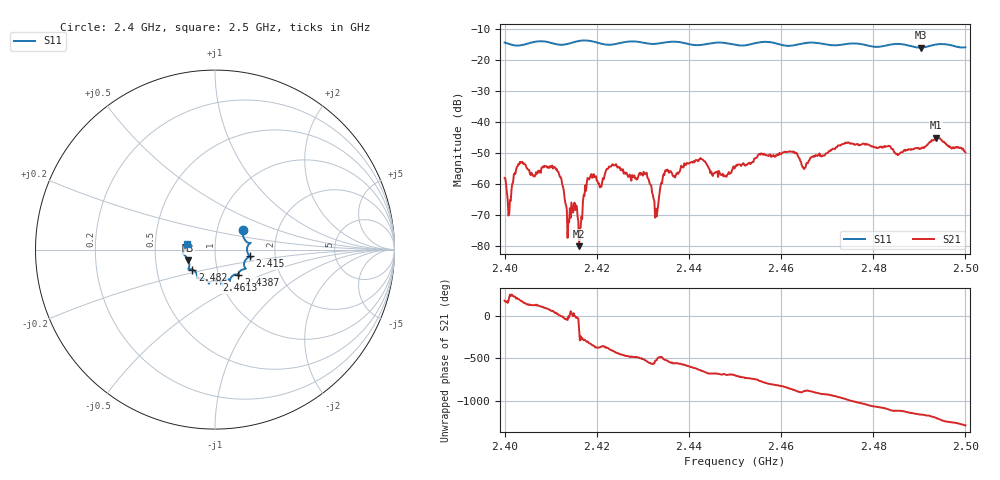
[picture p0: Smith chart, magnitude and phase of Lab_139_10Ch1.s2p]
# Hz S RI R 50
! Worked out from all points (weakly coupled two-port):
!   601 points, 2.4 GHz to 2.5 GHz, reference 50 ohm
!   highest |S21| = -45.08 dB at 2.4937 GHz (marker M1); lowest = -80.2 dB at 2.4162 GHz (marker M2)
!   lowest |S11| = -15.9 dB at 2.4903 GHz (marker M3), VSWR 1.38, Z = 36.8 - j4.43 ohm
!   |S11| at or under -10 dB: start of sweep to end of sweep
!   S12 and S22 are empty: the file has one direction only
!   S11 on the Smith chart (normalised r, x): 2.4 GHz: 1.33, +0.31; 2.415 GHz: 1.47, -0.11; 2.4387 GHz: 1.24, -0.36; 2.4613 GHz: 0.96, -0.34; 2.482 GHz: 0.76, -0.17; 2.5 GHz: 0.72, +0.05
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2.4e9  0.1578 0.1119  -0.00123 0.000149  0 0  0 0
2.401e9  0.1555 0.0968  -0.000281 -0.000159  0 0  0 0
2.403333e9  0.1644 0.0572  -0.00226 6.57e-05  0 0  0 0
2.4105e9  0.1859 0.0264  0.00104 0.00142  0 0  0 0
2.413833e9  0.1838 -0.0225  0.000258 -4.59e-05  0 0  0 0
2.415e9  0.1924 -0.0361  0.000349 0.000176  0 0  0 0
2.416167e9  0.2009 -0.0429  -9.14e-05 -3.48e-05  0 0  0 0
2.416667e9  0.2034 -0.0439  3.82e-05 0.000292  0 0  0 0
2.418333e9  0.2027 -0.0415  0.000924 0.000728  0 0  0 0
2.423667e9  0.1618 -0.0807  0.00115 -0.00164  0 0  0 0
2.430667e9  0.1525 -0.1115  -0.00143 -0.000358  0 0  0 0
2.433333e9  0.1323 -0.1319  -0.000317 -0.000332  0 0  0 0
2.434833e9  0.1308 -0.1439  -0.00151 -0.000623  0 0  0 0
2.438667e9  0.13 -0.1416  -0.00163 0.00087  0 0  0 0
2.45e9  0.0689 -0.1645  0.00169 0.00068  0 0  0 0
2.461333e9  0.00819 -0.1713  -0.00163 -0.00285  0 0  0 0
2.466667e9  -0.0346 -0.1904  -0.00261 -0.00071  0 0  0 0
2.482e9  -0.1261 -0.1113  0.00382 0.000276  0 0  0 0
2.483333e9  -0.1398 -0.1083  0.00402 -0.000975  0 0  0 0
2.490333e9  -0.149 -0.0586  0.00105 -0.00362  0 0  0 0
2.493667e9  -0.1789 -0.0232  -0.00214 -0.00514  0 0  0 0
2.5e9  -0.1585 0.0327  -0.00303 0.00111  0 0  0 0
